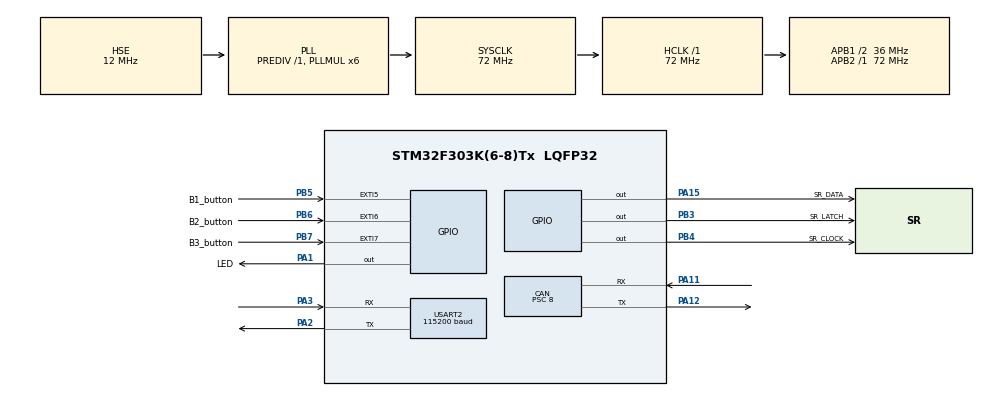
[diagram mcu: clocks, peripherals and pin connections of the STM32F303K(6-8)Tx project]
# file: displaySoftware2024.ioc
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CAN.BS1=CAN_BS1_7TQ
CAN.BS2=CAN_BS2_7TQ
CAN.CalculateBaudRate=300000
CAN.CalculateTimeBit=3333
CAN.CalculateTimeQuantum=222.22222222222223
CAN.Prescaler=8
Mcu.Family=STM32F3
Mcu.Name=STM32F303K(6-8)Tx
Mcu.Package=LQFP32
NVIC.CAN_RX0_IRQn=true\:0\:0\:false\:false\:true\:true\:true\:true
NVIC.PriorityGroup=NVIC_PRIORITYGROUP_4
PA1.GPIO_Label=LED
PA1.Signal=GPIO_Output
PA11.Mode=CAN_Activate
PA11.Signal=CAN_RX
PA12.Mode=CAN_Activate
PA12.Signal=CAN_TX
PA13.Mode=Serial_Wire
PA13.Signal=SYS_JTMS-SWDIO
PA14.Mode=Serial_Wire
PA14.Signal=SYS_JTCK-SWCLK
PA15.GPIO_Label=SR_DATA
PA15.Signal=GPIO_Output
PA2.Mode=Asynchronous
PA2.Signal=USART2_TX
PA3.Mode=Asynchronous
PA3.Signal=USART2_RX
PB3.GPIO_Label=SR_LATCH
PB3.Signal=GPIO_Output
PB4.GPIO_Label=SR_CLOCK
PB4.Signal=GPIO_Output
PB5.GPIO_Label=B1_button
PB5.GPIO_PuPd=GPIO_PULLUP
PB5.Signal=GPXTI5
PB6.GPIO_Label=B2_button
PB6.GPIO_PuPd=GPIO_PULLUP
PB6.Signal=GPXTI6
PB7.GPIO_Label=B3_button
PB7.GPIO_PuPd=GPIO_PULLUP
PB7.Signal=GPXTI7
PF0\ /\ OSC_IN.Mode=HSE-External-Oscillator
PF0\ /\ OSC_IN.Signal=RCC_OSC_IN
PF1\ /\ OSC_OUT.Mode=HSE-External-Oscillator
PF1\ /\ OSC_OUT.Signal=RCC_OSC_OUT
ProjectManager.HeapSize=0x200
ProjectManager.StackSize=0x400
ProjectManager.TargetToolchain=STM32CubeIDE
RCC.AHBFreq_Value=72000000
RCC.APB1CLKDivider=RCC_HCLK_DIV2
RCC.APB1Freq_Value=36000000
RCC.APB1TimFreq_Value=72000000
RCC.APB2Freq_Value=72000000
RCC.APB2TimFreq_Value=72000000
RCC.CortexFreq_Value=72000000
RCC.HCLKFreq_Value=72000000
RCC.HSE_VALUE=12000000
RCC.HSI_VALUE=8000000
RCC.PLLMUL=RCC_PLL_MUL6
RCC.PLLSourceVirtual=RCC_PLLSOURCE_HSE
RCC.SYSCLKFreq_VALUE=72000000
RCC.SYSCLKSourceVirtual=RCC_SYSCLKSOURCE_PLLCLK
USART2.BaudRate=115200
USART2.VirtualMode-Asynchronous=VM_ASYNC
board=custom

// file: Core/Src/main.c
/* USER CODE BEGIN Header */
/**
  ******************************************************************************
  * @file           : main.c
  * @brief          : Main program body
  ******************************************************************************
  * @attention
  *
  * Copyright (c) 2024 STMicroelectronics.
  * All rights reserved.
  *
  * This software is licensed under terms that can be found in the LICENSE file
  * in the root directory of this software component.
  * If no LICENSE file comes with this software, it is provided AS-IS.
  *
  ******************************************************************************
  */
/* USER CODE END Header */
#include "main.h"

/* USER CODE BEGIN Includes */
#include "stdio.h"
#include "string.h"
/* USER CODE END Includes */

/* USER CODE BEGIN PD */
#define check_button1
/* USER CODE END PD */

CAN_HandleTypeDef hcan;

UART_HandleTypeDef huart2;

void SystemClock_Config(void);
static void MX_GPIO_Init(void);
static void MX_CAN_Init(void);
static void MX_USART2_UART_Init(void);

/* USER CODE BEGIN 0 */
CAN_FilterTypeDef sFilterConfig;
CAN_TxHeaderTypeDef TxHeader, r2dTxHeader, mapTxHeader;
CAN_RxHeaderTypeDef RxHeader;
uint8_t RxData[8];
#define RAGGIORUOTA 5 //metri
//uint8_t freniRxData[1];
uint32_t TxMailbox;

int8_t nData = 15;
int32_t data[15];
int8_t datacheck = 0;
//battery_bar,speed_value,w_last_lap,estimated_laps,engine_mod,inverter_temp1,delta_time,engine_temp1,lap_time,lv_battery,readyToDrive.val,engine_tempLX2,engine_tempRX2,inverter_temp2,battery_temp2
char names[15][30]= {"battery_bar","speed_value","w_last_lap","estimated_laps","engine_mod","inverter_temp1","delta_time","engine_temp1","lap_time","lv_battery","readyToDrive","engine_tempLX2","engine_tempRX2","inverter_temp2","battery_temp2"};
int8_t txt[] = {1,2,3,4,5,6,7,8,9,11,12,13,14};
int8_t val[] = {0,1};

uint8_t currentPage = 0;

uint8_t cmd_end[3] = {0xFF,0xFF,0xFF}; //per inviare il comando

//inizializzazione variabili per ricezione CAN
uint8_t frenoPremuto = 0,tempBattery =0, speed=0;
float voltBattery=0;
uint16_t tempMot1 = 0, tempMot2 = 0, tempAvgMot = 0, tempInverter1=0,tempInverter2=0,tempAvgInverter=0;

//comunica con il nextion tramite messaggi tipo "oggetto.txt/val = {valore}" + 3volte comando 0xFF per confermare
void NEXTION_SendString (char* ID, char* string,char* tipo){ //tipo può essere txt o val
	char buff[50];
	int len = sprintf(buff,"%s.%s=\"%s\"",ID,tipo,string);
	HAL_UART_Transmit(&huart2,(uint8_t*)buff,len,1000);
	HAL_UART_Transmit(&huart2,cmd_end,3,100); //invio comandi = esegue
}

void HAL_CAN_RxFifo0MsgPendingCallback(CAN_HandleTypeDef *hcan){
	if(HAL_CAN_GetRxMessage(hcan, CAN_RX_FIFO0, &RxHeader, RxData)== HAL_OK){
		// 'rxHeader' contiene le informazioni del messaggio CAN ricevuto
		        // 'rxData' contiene i dati del messaggio ricevuto
		switch(RxHeader.StdId){
		case 0x012: //id brakeLigh
			frenoPremuto = (RxData[0]>>0) & 0x01; //prendo il prime byte, il bit posizione 0, &0x01 mascehra tutti gli altri bit;
			break;
		case 0x021:
			tempBattery = (uint8_t)(RxData[0]+RxData[1]+RxData[2]+RxData[3]+RxData[4]+RxData[5])/6; //temperatura media Pacco Batteria
			break;
		case 0x053:
			memcpy(&voltBattery,RxData,sizeof(float));
			// pacco batteria-> voltBattery = (uint8_t)(RxData[0]+RxData[1]+RxData[2]+RxData[3]+RxData[4]+RxData[5])/6; //voltaggio media Pacco Batteria
			break;
		case 0x023:
			tempMot1 = (uint16_t)(RxData[0]<<8|RxData[1]);
			tempMot2 = (uint16_t)(RxData[2]<<8|RxData[3]);
			tempAvgMot = (uint16_t)((tempMot1+tempMot2)/2);
			tempInverter1 = (uint16_t)(RxData[4]<<8|RxData[5]);
			tempInverter2 = (uint16_t)(RxData[6]<<8|RxData[7]);
			tempAvgInverter = (uint16_t)((tempInverter1+tempInverter2)/2);
			break;
		case 0x030:
			speed = (uint8_t)((((RxData[0]<<8|RxData[1])+(RxData[2]<<8|RxData[3]))/4)*RAGGIORUOTA*3.6);
			break;

		}
	}
}

/* USER CODE END 0 */

int main(void)
{

  /* MCU Configuration--------------------------------------------------------*/

  /* Reset of all peripherals, Initializes the Flash interface and the Systick. */
  HAL_Init();

  /* Configure the system clock */
  SystemClock_Config();

  /* Initialize all configured peripherals */
  MX_GPIO_Init();
  MX_CAN_Init();
  MX_USART2_UART_Init();
  /* USER CODE BEGIN 2 */

  sFilterConfig.FilterMode = CAN_FILTERMODE_IDMASK;
  sFilterConfig.FilterScale = CAN_FILTERSCALE_32BIT;
  sFilterConfig.FilterIdHigh = 0x012 << 5;		//id di base da controllare
  sFilterConfig.FilterIdLow = 0;	//= utilizzato
  sFilterConfig.FilterMaskIdHigh = 0x3F << 5; // Maschera per coprire l'intervallo da 0x012 a 0x053  sFilterConfig.FilterMaskIdLow = 0;
  sFilterConfig.FilterMaskIdLow = 0;
  sFilterConfig.FilterMode = CAN_FILTERMODE_IDMASK; // Modalità maschera
  sFilterConfig.FilterFIFOAssignment = CAN_FILTER_FIFO0;
  sFilterConfig.FilterActivation = ENABLE;
  sFilterConfig.FilterBank = 0;
  HAL_CAN_ConfigFilter(&hcan, &sFilterConfig);
  HAL_CAN_ActivateNotification(&hcan, CAN_IT_RX_FIFO0_MSG_PENDING);

  r2dTxHeader.DLC = 1;	//numero byte che deve ricevere (in questo caso basterebbe un bit)
  r2dTxHeader.StdId = 0x016; //id pacchetto
  r2dTxHeader.IDE = CAN_ID_STD;
  r2dTxHeader.RTR = CAN_RTR_DATA; //DATA

  mapTxHeader.DLC = 1;		//Numero byte messaggio, da 1 a 8
  mapTxHeader.StdId = 0x040; // Standard Identifier, va da 0 a 0x7FF (11bit)
  mapTxHeader.IDE = CAN_ID_STD;	//Indirizzi standard e non extended
  mapTxHeader.RTR = CAN_RTR_DATA; //DATA

  HAL_Delay(1000);

  uint32_t currMillis = HAL_GetTick();

  //NEXTION_SendString("t0","Hello");
  //NEXTION_SendString("t1","World");

  /* USER CODE END 2 */

  /* Infinite loop */
  while (1)
  {

    /* USER CODE BEGIN 3 */

	  //R2D
	  //Lettura stato del GPIO Button, controllo se è alto o basso, 0 = Premuto
	  if(HAL_GPIO_ReadPin(B1_button_GPIO_Port, B1_button_Pin) == 0 && (HAL_GetTick()-currMillis)>1000){
		  //premuto
		  currMillis = HAL_GetTick();
		  if (frenoPremuto){
			  uint8_t r2dToDriveValore=1;
			  HAL_CAN_AddTxMessage(&hcan, &r2dTxHeader, &r2dToDriveValore, &TxMailbox);
			  data[10]=1;
		  }
	  }

	  if(HAL_GPIO_ReadPin(B2_button_GPIO_Port, B2_button_Pin) == 0 && (HAL_GetTick()-currMillis)>1000){
	  		  //premuto pulsante 2
		  currMillis = HAL_GetTick();
		  if (currentPage){
				currentPage =0;
				char buff[10];
				int len = sprintf(buff,"page main");
				HAL_UART_Transmit(&huart2,(uint8_t*)buff,len,1000);
				HAL_UART_Transmit(&huart2,cmd_end,3,100);
	  		  } else{
	  			currentPage = 1;
	  			char buff[10];
				int len = sprintf(buff,"page temp");
				HAL_UART_Transmit(&huart2,(uint8_t*)buff,len,1000);
				HAL_UART_Transmit(&huart2,cmd_end,3,100);
	  		  }
	  	  }

	  char tipo[3];
	  for(int i =0;i<nData;i++){
			  if (i==0 || i==10){
				  strcpy(tipo,"val");
			  } else{
				  strcpy(tipo,"txt");
			  }
			  NEXTION_SendString((char*)names[i],(char*)data[i],tipo);
		  }
  }
  /* USER CODE END 3 */
}

void SystemClock_Config(void)
{
  RCC_OscInitTypeDef RCC_OscInitStruct = {0};
  RCC_ClkInitTypeDef RCC_ClkInitStruct = {0};

  /** Initializes the RCC Oscillators according to the specified parameters
  * in the RCC_OscInitTypeDef structure.
  */
  RCC_OscInitStruct.OscillatorType = RCC_OSCILLATORTYPE_HSE;
  RCC_OscInitStruct.HSEState = RCC_HSE_ON;
  RCC_OscInitStruct.HSEPredivValue = RCC_HSE_PREDIV_DIV1;
  RCC_OscInitStruct.HSIState = RCC_HSI_ON;
  RCC_OscInitStruct.PLL.PLLState = RCC_PLL_ON;
  RCC_OscInitStruct.PLL.PLLSource = RCC_PLLSOURCE_HSE;
  RCC_OscInitStruct.PLL.PLLMUL = RCC_PLL_MUL6;
  if (HAL_RCC_OscConfig(&RCC_OscInitStruct) != HAL_OK)
  {
    Error_Handler();
  }

  /** Initializes the CPU, AHB and APB buses clocks
  */
  RCC_ClkInitStruct.ClockType = RCC_CLOCKTYPE_HCLK|RCC_CLOCKTYPE_SYSCLK
                              |RCC_CLOCKTYPE_PCLK1|RCC_CLOCKTYPE_PCLK2;
  RCC_ClkInitStruct.SYSCLKSource = RCC_SYSCLKSOURCE_PLLCLK;
  RCC_ClkInitStruct.AHBCLKDivider = RCC_SYSCLK_DIV1;
  RCC_ClkInitStruct.APB1CLKDivider = RCC_HCLK_DIV2;
  RCC_ClkInitStruct.APB2CLKDivider = RCC_HCLK_DIV1;

  if (HAL_RCC_ClockConfig(&RCC_ClkInitStruct, FLASH_LATENCY_2) != HAL_OK)
  {
    Error_Handler();
  }
}

static void MX_CAN_Init(void)
{

  hcan.Instance = CAN;
  hcan.Init.Prescaler = 8;
  hcan.Init.Mode = CAN_MODE_NORMAL;
  hcan.Init.SyncJumpWidth = CAN_SJW_1TQ;
  hcan.Init.TimeSeg1 = CAN_BS1_7TQ;
  hcan.Init.TimeSeg2 = CAN_BS2_7TQ;
  hcan.Init.TimeTriggeredMode = DISABLE;
  hcan.Init.AutoBusOff = DISABLE;
  hcan.Init.AutoWakeUp = DISABLE;
  hcan.Init.AutoRetransmission = DISABLE;
  hcan.Init.ReceiveFifoLocked = DISABLE;
  hcan.Init.TransmitFifoPriority = DISABLE;
  if (HAL_CAN_Init(&hcan) != HAL_OK)
  {
    Error_Handler();
  }

}

static void MX_USART2_UART_Init(void)
{

  huart2.Instance = USART2;
  huart2.Init.BaudRate = 115200;
  huart2.Init.WordLength = UART_WORDLENGTH_8B;
  huart2.Init.StopBits = UART_STOPBITS_1;
  huart2.Init.Parity = UART_PARITY_NONE;
  huart2.Init.Mode = UART_MODE_TX_RX;
  huart2.Init.HwFlowCtl = UART_HWCONTROL_NONE;
  huart2.Init.OverSampling = UART_OVERSAMPLING_16;
  huart2.Init.OneBitSampling = UART_ONE_BIT_SAMPLE_DISABLE;
  huart2.AdvancedInit.AdvFeatureInit = UART_ADVFEATURE_NO_INIT;
  if (HAL_UART_Init(&huart2) != HAL_OK)
  {
    Error_Handler();
  }

}

static void MX_GPIO_Init(void)
{
  GPIO_InitTypeDef GPIO_InitStruct = {0};

  /* GPIO Ports Clock Enable */
  __HAL_RCC_GPIOF_CLK_ENABLE();
  __HAL_RCC_GPIOA_CLK_ENABLE();
  __HAL_RCC_GPIOB_CLK_ENABLE();

  /*Configure GPIO pin Output Level */
  HAL_GPIO_WritePin(GPIOA, LED_Pin|SR_DATA_Pin, GPIO_PIN_RESET);

  /*Configure GPIO pin Output Level */
  HAL_GPIO_WritePin(GPIOB, SR_LATCH_Pin|SR_CLOCK_Pin, GPIO_PIN_RESET);

  /*Configure GPIO pins : LED_Pin SR_DATA_Pin */
  GPIO_InitStruct.Pin = LED_Pin|SR_DATA_Pin;
  GPIO_InitStruct.Mode = GPIO_MODE_OUTPUT_PP;
  GPIO_InitStruct.Pull = GPIO_NOPULL;
  GPIO_InitStruct.Speed = GPIO_SPEED_FREQ_LOW;
  HAL_GPIO_Init(GPIOA, &GPIO_InitStruct);

  /*Configure GPIO pins : SR_LATCH_Pin SR_CLOCK_Pin */
  GPIO_InitStruct.Pin = SR_LATCH_Pin|SR_CLOCK_Pin;
  GPIO_InitStruct.Mode = GPIO_MODE_OUTPUT_PP;
  GPIO_InitStruct.Pull = GPIO_NOPULL;
  GPIO_InitStruct.Speed = GPIO_SPEED_FREQ_LOW;
  HAL_GPIO_Init(GPIOB, &GPIO_InitStruct);

  /*Configure GPIO pins : B1_button_Pin B2_button_Pin B3_button_Pin */
  GPIO_InitStruct.Pin = B1_button_Pin|B2_button_Pin|B3_button_Pin;
  GPIO_InitStruct.Mode = GPIO_MODE_IT_RISING;
  GPIO_InitStruct.Pull = GPIO_PULLUP;
  HAL_GPIO_Init(GPIOB, &GPIO_InitStruct);

}

void Error_Handler(void)
{
  __disable_irq();
  while (1)
  {
  }
}
